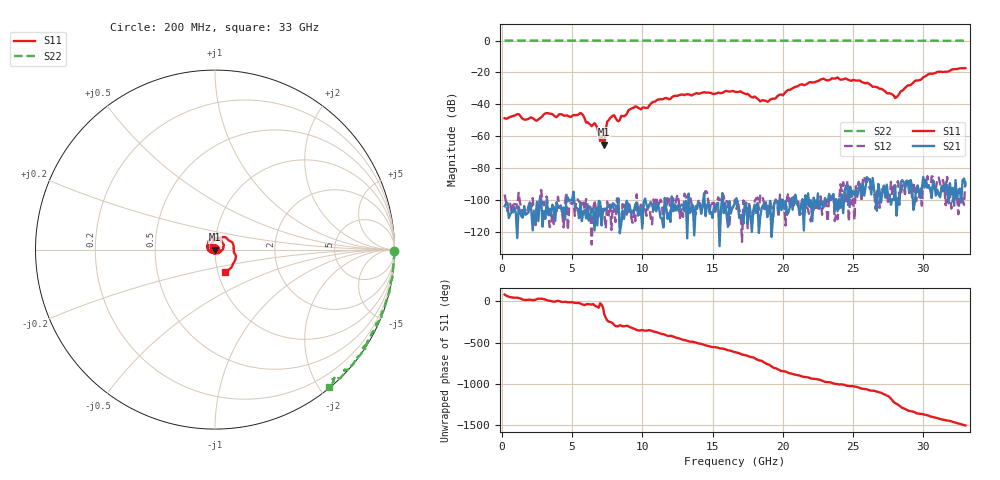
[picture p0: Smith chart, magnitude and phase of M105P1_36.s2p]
# GHZ S RI R 50
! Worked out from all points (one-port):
!   329 points, 200 MHz to 33 GHz, reference 50 ohm
!   lowest |S11| = -65.2 dB at 7.3 GHz (marker M1), VSWR 1.00, Z = 49.9 - j0.0211 ohm
!   |S11| at or under -10 dB: start of sweep to end of sweep
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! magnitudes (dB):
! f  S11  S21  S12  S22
! 200 MHz  -48.7  -103.9  -96.5  0.0
! 5.7 GHz  -46.0  -113.2  -104.4  0.0
! 6 GHz  -51.5  -111.4  -99.3  0.0
! 6.6 GHz  -51.8  -119.0  -100.1  0.0
! 6.8 GHz  -54.7  -115.9  -104.2  0.0
! 7 GHz  -63.0  -101.2  -102.6  0.0
! 7.1 GHz  -59.8  -115.9  -106.0  0.0
! 7.3 GHz  -65.2  -105.3  -108.8  0.0
! 7.5 GHz  -50.8  -104.6  -100.9  0.0
! 7.9 GHz  -47.2  -102.0  -103.2  0.0
! 8.3 GHz  -50.6  -98.9  -101.6  0.0
! 9.5 GHz  -41.2  -102.9  -113.2  0.0
! 10.4 GHz  -42.2  -105.3  -104.5  0.0
! 11.2 GHz  -36.9  -105.3  -102.0  0.0
! 16.6 GHz  -32.1  -101.9  -99.7  0.0
! 18.9 GHz  -38.4  -110.7  -106.7  0.0
! 22.1 GHz  -26.3  -113.2  -106.2  0.0
! 24.5 GHz  -23.8  -90.9  -101.5  0.0
! 27.6 GHz  -33.0  -97.1  -100.6  0.0
! 28 GHz  -36.0  -90.7  -91.7  0.0
! 30.4 GHz  -21.0  -91.1  -91.5  0.0
! 33 GHz  -17.3  -90.3  -88.3  -0.1
